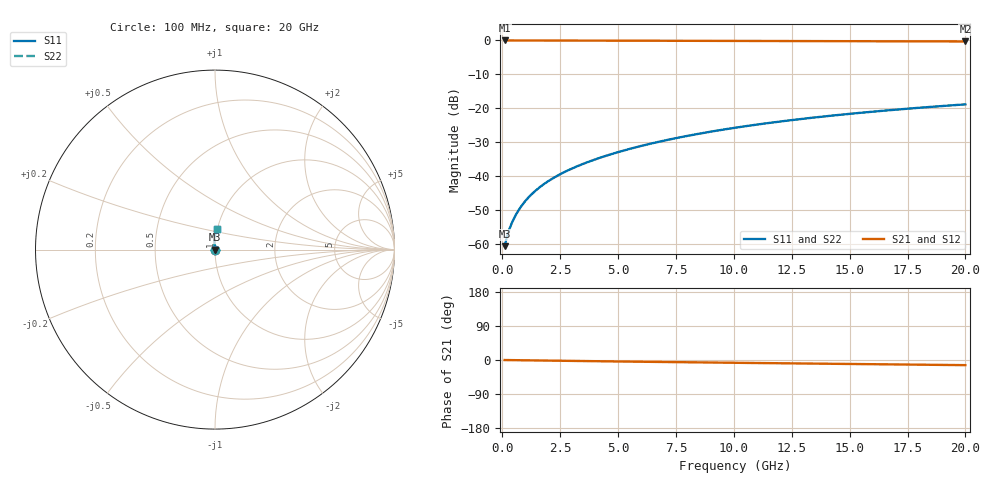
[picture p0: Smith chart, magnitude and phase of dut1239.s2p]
! Touchstone file exported from HFSS 2024.1.0
!  File:  C:/UserFiles/LocalFiles/RDL_TSV_Batchsim/temp_RDL_top_1239_1780240924.aedt
!  Generated:  11:24:28 PM May 31, 2026
!  Design:  RDL_top
!  Project:  temp_RDL_top_1239_1780240924
!  Setup:  Setup1
!  Solution:  Sweep
! Variables:
!  dtsv = 10.80580581um
!  hbump = 3um
!  htsv = 99.01um
!  ldown = 100um
!  lrdl = 198.96um
!  p = 40
!  p1 = 43.73um
!  rhole = 1um
!  t = 450um
!  tdown = 3.915915916um
!  trdl = 4.49um
!  wdown = 15.38538539um
!  wrdl = 26.85um
# GHz S MA R 50.000000
! Terminal data exported
! Port[1] = Box2_T1
! Port[2] = Box2_T2
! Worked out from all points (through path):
!   200 points, 100 MHz to 20 GHz, reference 50 ohm
!   highest |S21| = -0.01 dB at 100 MHz (marker M1); lowest = -0.3 dB at 20 GHz (marker M2)
!   group delay of S21, straight-line fit = 1.86 ps
!   lowest |S11| = -60.6 dB at 100 MHz (marker M3), VSWR 1.00, Z = 50.1 + j0.0512 ohm
!   |S11| at or under -10 dB: start of sweep to end of sweep
!   |S22| runs from -60.6 to -18.8 dB; largest |S21 - S12| = 3.4e-15
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0.1  0.0009363 33.1  0.9992 -0.1  0.9992 -0.1  0.0009363 33.1
! Gamma 0 0 0 0
! Port Impedance 50 0 50 0
0.2  0.001285 48.6  0.9991 -0.2  0.9991 -0.2  0.001285 48.6
0.3  0.001645 57.1  0.9991 -0.3  0.9991 -0.3  0.001645 57.1
0.4  0.00201 62.9  0.999 -0.3  0.999 -0.3  0.00201 62.9
0.5  0.002382 67.2  0.9989 -0.4  0.9989 -0.4  0.002382 67.2
0.6  0.002763 70.5  0.9989 -0.5  0.9989 -0.5  0.002763 70.5
0.8  0.003546 75.3  0.9988 -0.7  0.9988 -0.7  0.003546 75.3
1  0.004348 78.5  0.9987 -0.8  0.9987 -0.8  0.004348 78.5
1.2  0.005166 80.9  0.9985 -1.0  0.9985 -1.0  0.005166 80.9
1.7  0.007256 84.9  0.9981 -1.4  0.9981 -1.4  0.007256 84.9
2.2  0.009404 87.5  0.9975 -1.8  0.9975 -1.8  0.009404 87.5
2.8  0.01206 89.6  0.9967 -2.2  0.9967 -2.2  0.01206 89.6
3.5  0.01528 91.5  0.9955 -2.8  0.9955 -2.8  0.01528 91.5
4.2  0.01865 92.8  0.9942 -3.3  0.9942 -3.3  0.01865 92.8
5  0.02268 93.9  0.9926 -3.9  0.9926 -3.9  0.02268 93.9
6.8  0.03244 95.0  0.9888 -5.2  0.9888 -5.2  0.03244 95.0
8.4  0.04177 94.8  0.9855 -6.3  0.9855 -6.3  0.04177 94.8
10.1  0.05214 94.0  0.9821 -7.4  0.9821 -7.4  0.05214 94.1
11.7  0.06214 92.9  0.9791 -8.4  0.9791 -8.4  0.06214 92.9
13.4  0.0729 91.5  0.9762 -9.5  0.9762 -9.5  0.0729 91.5
16.7  0.09383 88.6  0.9709 -11.5  0.9709 -11.5  0.09384 88.6
20  0.1145 85.6  0.9661 -13.6  0.9661 -13.6  0.1145 85.6
